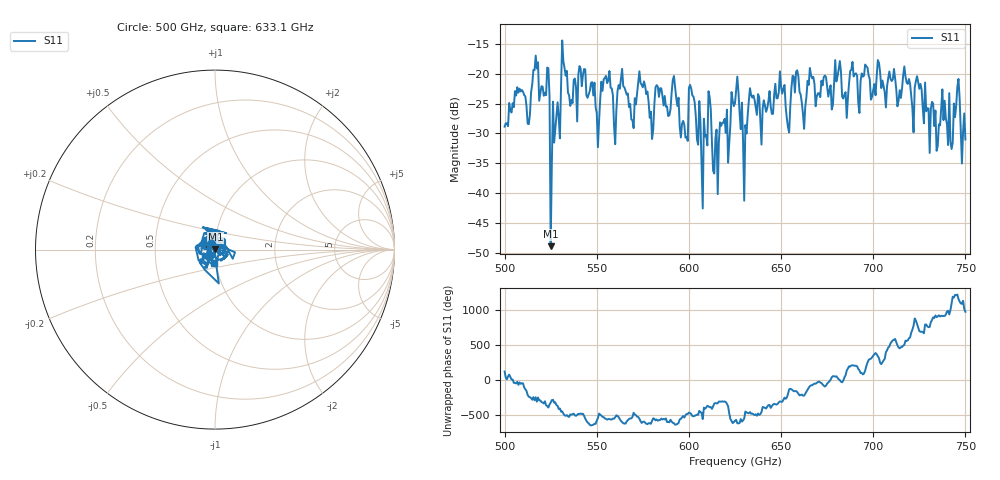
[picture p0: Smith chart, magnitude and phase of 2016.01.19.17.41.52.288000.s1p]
!Created with skrf (http://scikit-rf.org).
# GHz S RI R 50.0
!freq ReS11 ImS11
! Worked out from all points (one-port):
!   401 points, 500 GHz to 750 GHz, reference 50 ohm
!   lowest |S11| = -48.9 dB at 525 GHz (marker M1), VSWR 1.01, Z = 50.3 + j0.248 ohm
!   |S11| at or under -10 dB: start of sweep to end of sweep
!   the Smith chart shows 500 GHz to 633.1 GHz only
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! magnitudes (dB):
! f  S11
! 500 GHz  -28.9
! 513.1 GHz  -28.4
! 516.9 GHz  -17.0
! 523.1 GHz  -19.0
! 525 GHz  -48.9
! 526.2 GHz  -24.7
! 531.2 GHz  -14.4
! 550.6 GHz  -32.3
! 562.5 GHz  -22.5
! 568.8 GHz  -27.6
! 574.4 GHz  -21.9
! 579.4 GHz  -26.4
! 593.8 GHz  -25.4
! 598.1 GHz  -30.7
! 601.2 GHz  -22.5
! 608.1 GHz  -27.5
! 611.2 GHz  -23.9
! 614.4 GHz  -30.8
! 625 GHz  -24.9
! 630.6 GHz  -28.6
! 633.8 GHz  -23.6
! 650.6 GHz  -23.3
! 653.8 GHz  -29.0
! 656.2 GHz  -20.4
! 687.5 GHz  -19.5
! 718.8 GHz  -21.7
! 745.6 GHz  -22.2
! 750 GHz  -31.0
